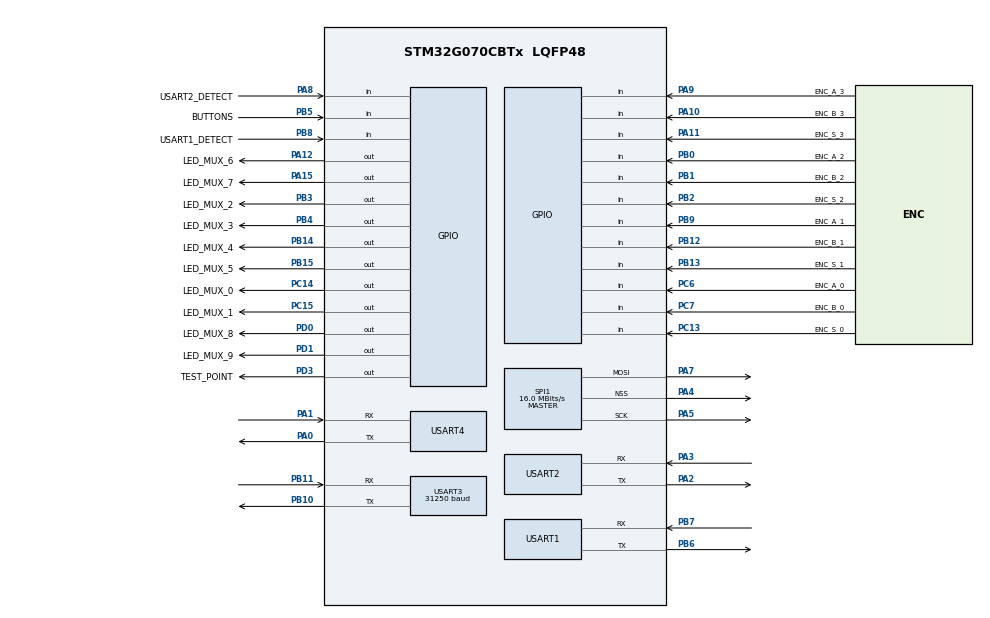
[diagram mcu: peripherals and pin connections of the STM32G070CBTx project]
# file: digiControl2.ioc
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CRC.DefaultInitValueUse=DEFAULT_INIT_VALUE_ENABLE
CRC.DefaultPolynomialUse=DEFAULT_POLYNOMIAL_ENABLE
CRC.InputDataInversionMode=CRC_INPUTDATA_INVERSION_BYTE
CRC.OutputDataInversionMode=CRC_OUTPUTDATA_INVERSION_ENABLE
Mcu.Family=STM32G0
Mcu.Name=STM32G070CBTx
Mcu.Package=LQFP48
NVIC.RCC_IRQn=true\:0\:0\:false\:true\:true\:1\:true
NVIC.SPI1_IRQn=true\:0\:0\:true\:true\:false\:2\:true
NVIC.TIM14_IRQn=true\:0\:0\:false\:true\:false\:6\:true
NVIC.TIM3_IRQn=true\:2\:0\:true\:true\:false\:3\:true
NVIC.TIM6_IRQn=true\:0\:0\:false\:true\:false\:4\:true
NVIC.TIM7_IRQn=true\:3\:0\:true\:true\:false\:5\:true
NVIC.USART1_IRQn=true\:0\:0\:false\:true\:false\:7\:true
NVIC.USART2_IRQn=true\:0\:0\:false\:true\:false\:8\:true
NVIC.USART3_4_IRQn=true\:0\:0\:false\:true\:false\:9\:true
PA0.Mode=Asynchronous
PA0.Signal=USART4_TX
PA1.Mode=Asynchronous
PA1.Signal=USART4_RX
PA10.GPIO_Label=ENC_B_3
PA10.Signal=GPIO_Input
PA11\ [PA9].GPIO_Label=ENC_S_3
PA11\ [PA9].Signal=GPIO_Input
PA12\ [PA10].GPIO_Label=LED_MUX_6
PA12\ [PA10].GPIO_Speed=GPIO_SPEED_FREQ_VERY_HIGH
PA12\ [PA10].Signal=GPIO_Output
PA13.Mode=Serial_Wire
PA13.Signal=SYS_SWDIO
PA14-BOOT0.Mode=Serial_Wire
PA14-BOOT0.Signal=SYS_SWCLK
PA15.GPIO_Label=LED_MUX_7
PA15.GPIO_Speed=GPIO_SPEED_FREQ_VERY_HIGH
PA15.Signal=GPIO_Output
PA2.Mode=Asynchronous
PA2.Signal=USART2_TX
PA3.Mode=Asynchronous
PA3.Signal=USART2_RX
PA4.GPIO_Speed=GPIO_SPEED_FREQ_HIGH
PA4.Mode=NSS_Signal_Hard_Output
PA4.Signal=SPI1_NSS
PA5.GPIO_Speed=GPIO_SPEED_FREQ_HIGH
PA5.Mode=TX_Only_Simplex_Unidirect_Master
PA5.Signal=SPI1_SCK
PA6.Signal=SPI1_MISO
PA7.GPIO_Speed=GPIO_SPEED_FREQ_HIGH
PA7.Mode=TX_Only_Simplex_Unidirect_Master
PA7.Signal=SPI1_MOSI
PA8.GPIO_Label=USART2_DETECT
PA8.Signal=GPIO_Input
PA9.GPIO_Label=ENC_A_3
PA9.Signal=GPIO_Input
PB0.GPIO_Label=ENC_A_2
PB0.Signal=GPIO_Input
PB1.GPIO_Label=ENC_B_2
PB1.Signal=GPIO_Input
PB10.Mode=Asynchronous
PB10.Signal=USART3_TX
PB11.Mode=Asynchronous
PB11.Signal=USART3_RX
PB12.GPIO_Label=ENC_B_1
PB12.Signal=GPIO_Input
PB13.GPIO_Label=ENC_S_1
PB13.Signal=GPIO_Input
PB14.GPIO_Label=LED_MUX_4
PB14.GPIO_Speed=GPIO_SPEED_FREQ_VERY_HIGH
PB14.Signal=GPIO_Output
PB15.GPIO_Label=LED_MUX_5
PB15.GPIO_Speed=GPIO_SPEED_FREQ_VERY_HIGH
PB15.Signal=GPIO_Output
PB2.GPIO_Label=ENC_S_2
PB2.Signal=GPIO_Input
PB3.GPIO_Label=LED_MUX_2
PB3.GPIO_Speed=GPIO_SPEED_FREQ_VERY_HIGH
PB3.Signal=GPIO_Output
PB4.GPIO_Label=LED_MUX_3
PB4.GPIO_Speed=GPIO_SPEED_FREQ_VERY_HIGH
PB4.Signal=GPIO_Output
PB5.GPIO_Label=BUTTONS
PB5.Signal=GPIO_Input
PB6.Mode=Asynchronous
PB6.Signal=USART1_TX
PB7.Mode=Asynchronous
PB7.Signal=USART1_RX
PB8.GPIO_Label=USART1_DETECT
PB8.Signal=GPIO_Input
PB9.GPIO_Label=ENC_A_1
PB9.Signal=GPIO_Input
PC13.GPIO_Label=ENC_S_0
PC13.Signal=GPIO_Input
PC14-OSC32_IN\ (PC14).GPIO_Label=LED_MUX_0
PC14-OSC32_IN\ (PC14).Signal=GPIO_Output
PC15-OSC32_OUT\ (PC15).GPIO_Label=LED_MUX_1
PC15-OSC32_OUT\ (PC15).Signal=GPIO_Output
PC6.GPIO_Label=ENC_A_0
PC6.Signal=GPIO_Input
PC7.GPIO_Label=ENC_B_0
PC7.Signal=GPIO_Input
PD0.GPIO_Label=LED_MUX_8
PD0.GPIO_Speed=GPIO_SPEED_FREQ_VERY_HIGH
PD0.Signal=GPIO_Output
PD1.GPIO_Label=LED_MUX_9
PD1.GPIO_Speed=GPIO_SPEED_FREQ_VERY_HIGH
PD1.Signal=GPIO_Output
PD3.GPIO_Label=TEST_POINT
PD3.GPIO_Speed=GPIO_SPEED_FREQ_VERY_HIGH
PD3.Signal=GPIO_Output
PF0-OSC_IN\ (PF0).Mode=HSE-External-Oscillator
PF0-OSC_IN\ (PF0).Signal=RCC_OSC_IN
PF1-OSC_OUT\ (PF1).Mode=HSE-External-Oscillator
PF1-OSC_OUT\ (PF1).Signal=RCC_OSC_OUT
ProjectManager.HeapSize=0x200
ProjectManager.StackSize=0x400
ProjectManager.TargetToolchain=TrueSTUDIO
RCC.ADCFreq_Value=64000000
RCC.AHBFreq_Value=64000000
RCC.CortexFreq_Value=64000000
RCC.EXTERNAL_CLOCK_VALUE=48000
RCC.HCLKFreq_Value=64000000
RCC.HSE_VALUE=8000000
RCC.HSI_VALUE=16000000
RCC.LSE_VALUE=32768
RCC.PLLN=16
RCC.PLLSourceVirtual=RCC_PLLSOURCE_HSE
RCC.PREFETCH_ENABLE=0
RCC.SYSCLKFreq_VALUE=64000000
RCC.SYSCLKSource=RCC_SYSCLKSOURCE_PLLCLK
RCC.VCOOutputFreq_Value=128000000
SPI1.BaudRatePrescaler=SPI_BAUDRATEPRESCALER_4
SPI1.CalculateBaudRate=16.0 MBits/s
SPI1.DataSize=SPI_DATASIZE_16BIT
SPI1.Direction=SPI_DIRECTION_2LINES
SPI1.Mode=SPI_MODE_MASTER
SPI1.TIMode=SPI_TIMODE_DISABLE
SPI1.VirtualNSS=VM_NSSHARD
SPI1.VirtualType=VM_MASTER
TIM14.Channel=TIM_CHANNEL_1
TIM14.Period=1000
TIM14.Prescaler=64
TIM3.Channel-Output\ Compare1\ No\ Output=TIM_CHANNEL_1
TIM3.Period=1000
TIM3.Prescaler=64
TIM6.Period=100
TIM6.Prescaler=64
TIM7.Period=256
TIM7.Prescaler=16
USART1.Parity=PARITY_NONE
USART1.VirtualMode-Asynchronous=VM_ASYNC
USART1.WordLength=WORDLENGTH_8B
USART2.Parity=PARITY_NONE
USART2.VirtualMode-Asynchronous=VM_ASYNC
USART2.WordLength=WORDLENGTH_8B
USART3.BaudRate=31250
USART3.Parity=PARITY_NONE
USART3.VirtualMode-Asynchronous=VM_ASYNC
USART3.WordLength=WORDLENGTH_8B
USART4.Parity=PARITY_NONE
USART4.VirtualMode-Asynchronous=VM_ASYNC
USART4.WordLength=WORDLENGTH_8B
VP_CRC_VS_CRC.Mode=CRC_Activate
VP_TIM14_VS_ClockSourceINT.Mode=Enable_Timer
VP_TIM14_VS_no_output1.Mode=Output Compare1 No Output
VP_TIM3_VS_ClockSourceINT.Mode=Internal
VP_TIM3_VS_no_output1.Mode=Output Compare1 No Output
VP_TIM6_VS_ClockSourceINT.Mode=Enable_Timer
VP_TIM7_VS_ClockSourceINT.Mode=Enable_Timer
board=custom

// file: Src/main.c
/* USER CODE BEGIN Header */
/**
 ******************************************************************************
 * @file           : main.c
 * @brief          : Main program body
 ******************************************************************************
 ** This notice applies to any and all portions of this file
 * that are not between comment pairs USER CODE BEGIN and
 * USER CODE END. Other portions of this file, whether
 * inserted by the user or by software development tools
 * are owned by their respective copyright owners.
 *
 * COPYRIGHT(c) 2019 STMicroelectronics
 *
 * Redistribution and use in source and binary forms, with or without modification,
 * are permitted provided that the following conditions are met:
 *   1. Redistributions of source code must retain the above copyright notice,
 *      this list of conditions and the following disclaimer.
 *   2. Redistributions in binary form must reproduce the above copyright notice,
 *      this list of conditions and the following disclaimer in the documentation
 *      and/or other materials provided with the distribution.
 *   3. Neither the name of STMicroelectronics nor the names of its contributors
 *      may be used to endorse or promote products derived from this software
 *      without specific prior written permission.
 *
 * THIS SOFTWARE IS PROVIDED BY THE COPYRIGHT HOLDERS AND CONTRIBUTORS "AS IS"
 * AND ANY EXPRESS OR IMPLIED WARRANTIES, INCLUDING, BUT NOT LIMITED TO, THE
 * IMPLIED WARRANTIES OF MERCHANTABILITY AND FITNESS FOR A PARTICULAR PURPOSE ARE
 * DISCLAIMED. IN NO EVENT SHALL THE COPYRIGHT HOLDER OR CONTRIBUTORS BE LIABLE
 * FOR ANY DIRECT, INDIRECT, INCIDENTAL, SPECIAL, EXEMPLARY, OR CONSEQUENTIAL
 * DAMAGES (INCLUDING, BUT NOT LIMITED TO, PROCUREMENT OF SUBSTITUTE GOODS OR
 * SERVICES; LOSS OF USE, DATA, OR PROFITS; OR BUSINESS INTERRUPTION) HOWEVER
 * CAUSED AND ON ANY THEORY OF LIABILITY, WHETHER IN CONTRACT, STRICT LIABILITY,
 * OR TORT (INCLUDING NEGLIGENCE OR OTHERWISE) ARISING IN ANY WAY OUT OF THE USE
 * OF THIS SOFTWARE, EVEN IF ADVISED OF THE POSSIBILITY OF SUCH DAMAGE.
 *
 ******************************************************************************
 */

/* USER CODE END Header */

#include "main.h"
#include "crc.h"
#include "spi.h"
#include "tim.h"
#include "usart.h"
#include "gpio.h"

/* USER CODE BEGIN Includes */
#include "mainthread.h"
#include "lib/printf.h"
/* USER CODE END Includes */

void SystemClock_Config(void);
static void MX_NVIC_Init(void);

int main(void)
{

    /* MCU Configuration--------------------------------------------------------*/

    /* Reset of all peripherals, Initializes the Flash interface and the Systick. */

    LL_APB2_GRP1_EnableClock(LL_APB2_GRP1_PERIPH_SYSCFG);
    LL_APB1_GRP1_EnableClock(LL_APB1_GRP1_PERIPH_PWR);

    /* System interrupt init*/

    /* Peripheral interrupt init*/

    /* Configure the system clock */
    SystemClock_Config();

    /* Initialize all configured peripherals */
    MX_GPIO_Init();
    MX_SPI1_Init();
    MX_USART1_UART_Init();
    MX_USART2_UART_Init();
    MX_USART3_UART_Init();
    MX_USART4_UART_Init();
    MX_TIM3_Init();
    MX_TIM6_Init();
    MX_TIM7_Init();
    MX_TIM14_Init();
    MX_CRC_Init();

    /* Initialize interrupts */
    MX_NVIC_Init();

    /* Infinite loop */
    /* USER CODE BEGIN WHILE */

//    /* Start channel 3 in Output compare mode */
//    if (HAL_TIM_OC_Start_IT(&htim3, TIM_CHANNEL_1) != HAL_OK) {
//        /* Starting Error */
//        Error_Handler();
//    }
    LL_TIM_EnableCounter(TIM6);
    LL_TIM_EnableIT_UPDATE(TIM6);

    LL_TIM_EnableCounter(TIM7);
    LL_TIM_EnableIT_UPDATE(TIM7);

    LL_TIM_EnableCounter(TIM3);
    LL_TIM_EnableIT_UPDATE(TIM3);

    LL_TIM_EnableCounter(TIM14);
    LL_TIM_EnableIT_UPDATE(TIM14);

    LL_SPI_Enable(SPI1);
    LL_SPI_EnableIT_RXNE(SPI1);

    while ((!(LL_USART_IsActiveFlag_TEACK(USART4))) || (!(LL_USART_IsActiveFlag_REACK(USART4))));
    LL_USART_EnableIT_RXNE(USART4);
    LL_USART_EnableIT_ERROR(USART4);

    while ((!(LL_USART_IsActiveFlag_TEACK(USART3))) || (!(LL_USART_IsActiveFlag_REACK(USART3))));
    LL_USART_EnableIT_RXNE(USART3);
    LL_USART_EnableIT_ERROR(USART3);

    while ((!(LL_USART_IsActiveFlag_TEACK(USART2))) || (!(LL_USART_IsActiveFlag_REACK(USART2))));
    LL_USART_EnableIT_RXNE(USART2);
    LL_USART_EnableIT_ERROR(USART2);

    while ((!(LL_USART_IsActiveFlag_TEACK(USART1))) || (!(LL_USART_IsActiveFlag_REACK(USART1))));
    LL_USART_EnableIT_RXNE(USART1);
    LL_USART_EnableIT_ERROR(USART1);
//    LL_USART_TransmitData8(USART4, 'x');

    main_thread();

    /* USER CODE END WHILE */

}

void SystemClock_Config(void)
{
    LL_FLASH_SetLatency(LL_FLASH_LATENCY_2);
    if (LL_FLASH_GetLatency() != LL_FLASH_LATENCY_2)
    {
        Error_Handler();
    };

    /* HSE configuration and activation */
    LL_RCC_HSE_Enable();
    while (LL_RCC_HSE_IsReady() != 1)
    {
    };

    /* Main PLL configuration and activation */
    LL_RCC_PLL_ConfigDomain_SYS(LL_RCC_PLLSOURCE_HSE, LL_RCC_PLLM_DIV_1, 16, LL_RCC_PLLR_DIV_2);
    LL_RCC_PLL_Enable();
    LL_RCC_PLL_EnableDomain_SYS();
    while (LL_RCC_PLL_IsReady() != 1)
    {
    };

    /* Set AHB prescaler*/
    LL_RCC_SetAHBPrescaler(LL_RCC_SYSCLK_DIV_1);

    /* Sysclk activation on the main PLL */
    LL_RCC_SetSysClkSource(LL_RCC_SYS_CLKSOURCE_PLL);
    while (LL_RCC_GetSysClkSource() != LL_RCC_SYS_CLKSOURCE_STATUS_PLL)
    {
    };

    /* Set APB1 prescaler*/
    LL_RCC_SetAPB1Prescaler(LL_RCC_APB1_DIV_1);

    LL_Init1msTick(64000000);

    LL_SYSTICK_SetClkSource(LL_SYSTICK_CLKSOURCE_HCLK);
    /* Update CMSIS variable (which can be updated also through SystemCoreClockUpdate function) */
    LL_SetSystemCoreClock(64000000);
    LL_RCC_SetUSARTClockSource(LL_RCC_USART1_CLKSOURCE_PCLK1);
    LL_RCC_SetUSARTClockSource(LL_RCC_USART2_CLKSOURCE_PCLK1);
}

/**
 * @brief NVIC Configuration.
 * @retval None
 */
static void MX_NVIC_Init(void)
{
    /* RCC_IRQn interrupt configuration */
    NVIC_SetPriority(RCC_IRQn, 0);
    NVIC_EnableIRQ(RCC_IRQn);
    /* SPI1_IRQn interrupt configuration */
    NVIC_SetPriority(SPI1_IRQn, 0);
    NVIC_EnableIRQ(SPI1_IRQn);
    /* TIM3_IRQn interrupt configuration */
    NVIC_SetPriority(TIM3_IRQn, 2);
    NVIC_EnableIRQ(TIM3_IRQn);
    /* TIM6_IRQn interrupt configuration */
    NVIC_SetPriority(TIM6_IRQn, 0);
    NVIC_EnableIRQ(TIM6_IRQn);
    /* TIM7_IRQn interrupt configuration */
    NVIC_SetPriority(TIM7_IRQn, 3);
    NVIC_EnableIRQ(TIM7_IRQn);
    /* TIM14_IRQn interrupt configuration */
    NVIC_SetPriority(TIM14_IRQn, 0);
    NVIC_EnableIRQ(TIM14_IRQn);
    /* USART1_IRQn interrupt configuration */
    NVIC_SetPriority(USART1_IRQn, 0);
    NVIC_EnableIRQ(USART1_IRQn);
    /* USART2_IRQn interrupt configuration */
    NVIC_SetPriority(USART2_IRQn, 0);
    NVIC_EnableIRQ(USART2_IRQn);
    /* USART3_4_IRQn interrupt configuration */
    NVIC_SetPriority(USART3_4_IRQn, 0);
    NVIC_EnableIRQ(USART3_4_IRQn);
}

void Error_Handler(void)
{
    /* USER CODE BEGIN Error_Handler_Debug */
    /* User can add his own implementation to report the HAL error return state */
    for (int i = 0; i < 128; i++) {

    }
    printf("ERROR HAPPENED");
    /* USER CODE END Error_Handler_Debug */
}

/************************ (C) COPYRIGHT STMicroelectronics *****END OF FILE****/
